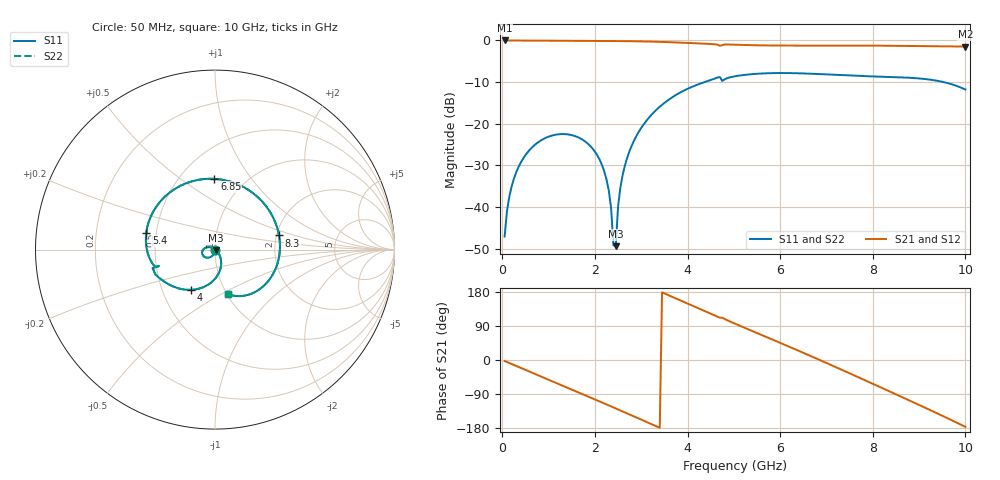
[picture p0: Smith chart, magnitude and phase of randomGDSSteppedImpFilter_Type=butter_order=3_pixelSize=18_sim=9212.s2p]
! freq	dB(S11)	phase(S11)	dB(S12)	phase(S12)
!  dB(S21)	phase(S21)	dB(S22)	phase(S22)
!S-par simulation data
#  GHz  S  DB  R 50
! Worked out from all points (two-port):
!   200 points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, 50 MHz to 10 GHz, reference 50 ohm
!   highest |S21| = -0.01 dB at 50 MHz (marker M1); lowest = -1.5 dB at 10 GHz (marker M2)
!   |S21| within 3 dB of the highest: start of sweep to end of sweep
!   lowest |S11| = -49.4 dB at 2.45 GHz (marker M3), VSWR 1.01, Z = 50.3 - j0.132 ohm
!   |S11| at or under -10 dB: start of sweep to 4.369 GHz; 9.526 GHz to end of sweep
!   |S22| runs from -49.2 to -7.8 dB; largest |S21 - S12| = 0
!   S11 on the Smith chart (normalised r, x): 50 MHz: 1.00, -0.01; 4 GHz: 0.69, -0.33; 5.4 GHz: 0.44, +0.10; 6.85 GHz: 0.73, +0.68; 8.3 GHz: 2.06, +0.38; 10 GHz: 1.01, -0.54
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0.05  -47.13 -91.7  -0.01 -2.7  -0.01 -2.7  -47.13 -91.7
0.2  -35.15 -100.2  -0.02 -10.5  -0.02 -10.5  -35.15 -100.2
0.55  -26.83 -118.8  -0.04 -28.7  -0.04 -28.7  -26.84 -118.8
1.15  -22.65 -150.8  -0.09 -59.8  -0.09 -59.8  -22.65 -150.8
1.75  -23.97 177.6  -0.12 -91.0  -0.12 -91.0  -23.97 177.4
2.2  -31.39 152.8  -0.13 -114.6  -0.13 -114.6  -31.39 152.3
2.35  -40.32 141.4  -0.14 -122.5  -0.14 -122.5  -40.30 139.9
2.4  -49.20 123.3  -0.14 -125.2  -0.14 -125.2  -48.99 119.5
2.45  -49.43 -22.8  -0.15 -127.8  -0.15 -127.8  -49.22 -18.6
2.55  -35.34 -41.0  -0.16 -133.2  -0.16 -133.2  -35.33 -40.0
2.7  -28.07 -50.6  -0.17 -141.2  -0.17 -141.2  -28.07 -50.2
3.4  -15.93 -89.2  -0.34 -178.9  -0.34 -178.9  -15.93 -89.0
4  -11.63 -121.3  -0.59 148.9  -0.59 148.9  -11.63 -121.2
5.05  -8.56 -175.6  -1.04 94.6  -1.04 94.6  -8.56 -175.5
5.4  -8.09 166.4  -1.14 76.4  -1.14 76.4  -8.09 166.5
6.7  -8.01 98.5  -1.23 8.3  -1.23 8.3  -8.01 98.6
6.85  -8.09 90.5  -1.23 0.3  -1.23 0.3  -8.09 90.6
7.5  -8.43 55.5  -1.21 -35.1  -1.21 -35.1  -8.43 55.5
8.3  -8.75 12.5  -1.28 -79.4  -1.28 -79.4  -8.75 12.4
8.35  -8.76 9.8  -1.28 -82.2  -1.28 -82.2  -8.77 9.8
9.1  -9.24 -29.8  -1.37 -124.2  -1.37 -124.2  -9.24 -29.9
10  -11.79 -73.6  -1.48 -176.5  -1.48 -176.5  -11.81 -73.9
